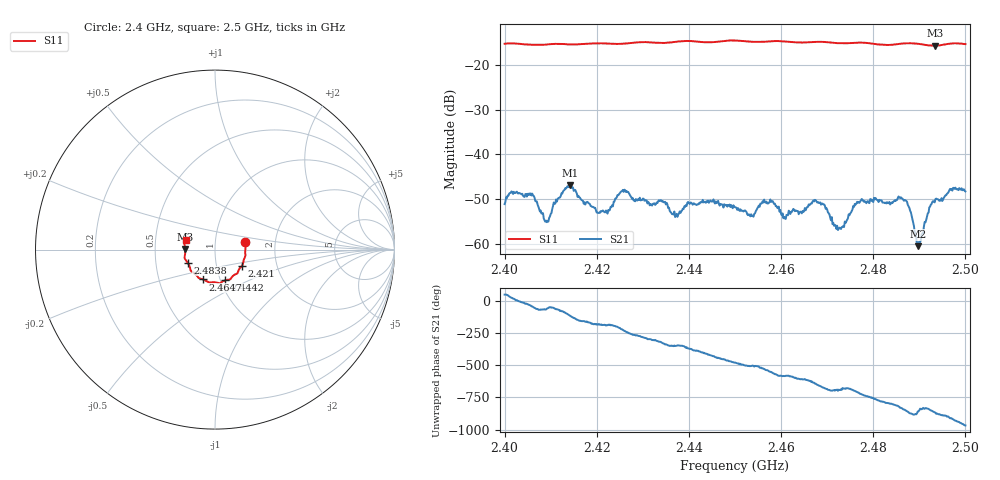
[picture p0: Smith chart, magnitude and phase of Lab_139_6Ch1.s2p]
# Hz S RI R 50
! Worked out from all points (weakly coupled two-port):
!   601 points, 2.4 GHz to 2.5 GHz, reference 50 ohm
!   highest |S21| = -46.94 dB at 2.4142 GHz (marker M1); lowest = -60.6 dB at 2.4897 GHz (marker M2)
!   lowest |S11| = -15.6 dB at 2.4935 GHz (marker M3), VSWR 1.40, Z = 35.8 + j0.192 ohm
!   |S11| at or under -10 dB: start of sweep to end of sweep
!   S12 and S22 are empty: the file has one direction only
!   S11 on the Smith chart (normalised r, x): 2.4 GHz: 1.40, +0.12; 2.421 GHz: 1.33, -0.24; 2.4442 GHz: 1.05, -0.37; 2.4647 GHz: 0.83, -0.29; 2.4838 GHz: 0.73, -0.11; 2.5 GHz: 0.71, +0.08
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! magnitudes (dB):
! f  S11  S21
! 2.4 GHz  -15.2  -51.1
! 2.4058 GHz  -15.4  -49.2
! 2.4092 GHz  -15.4  -55.2
! 2.4142 GHz  -15.4  -46.9
! 2.4167 GHz  -15.3  -50.2
! 2.421 GHz  -15.1  -52.8
! 2.4257 GHz  -15.2  -47.9
! 2.4333 GHz  -15.0  -50.5
! 2.4372 GHz  -14.8  -53.7
! 2.4442 GHz  -14.9  -50.4
! 2.45 GHz  -14.5  -51.8
! 2.4647 GHz  -14.9  -52.7
! 2.4667 GHz  -14.8  -51.0
! 2.4693 GHz  -14.8  -51.2
! 2.4725 GHz  -15.1  -56.7
! 2.477 GHz  -15.0  -50.8
! 2.4833 GHz  -15.5  -50.9
! 2.4838 GHz  -15.5  -51.0
! 2.4873 GHz  -15.1  -50.6
! 2.4897 GHz  -15.2  -60.6
! 2.4935 GHz  -15.6  -50.0
! 2.5 GHz  -15.3  -48.3
